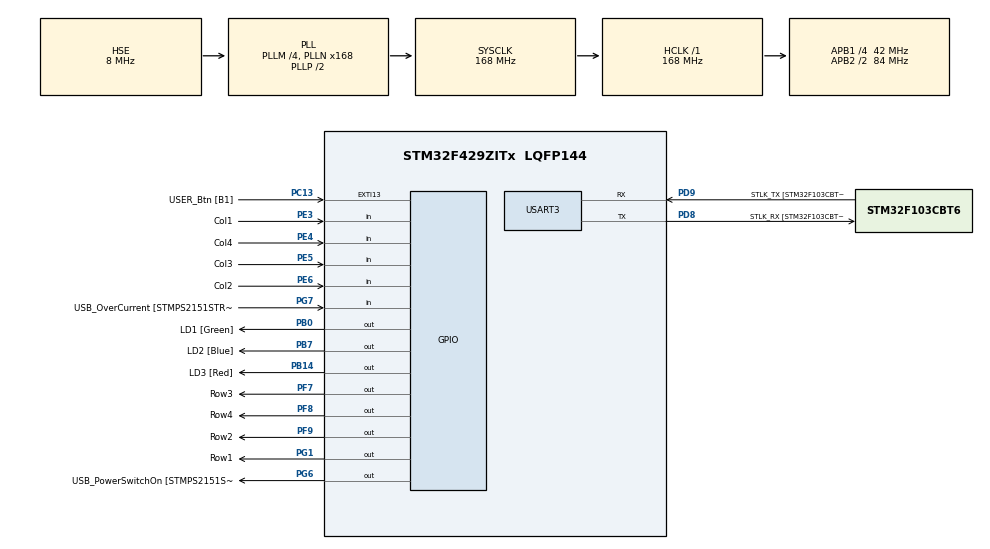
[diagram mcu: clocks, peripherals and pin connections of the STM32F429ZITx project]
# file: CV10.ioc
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Mcu.Family=STM32F4
Mcu.Name=STM32F429ZITx
Mcu.Package=LQFP144
NVIC.PriorityGroup=NVIC_PRIORITYGROUP_4
NVIC.TIM3_IRQn=true\:0\:0\:false\:false\:true\:true\:true\:true
PA1.GPIO_Label=RMII_REF_CLK [LAN8742A-CZ-TR_REFCLK0]
PA1.Signal=ETH_REF_CLK
PA10.GPIO_Label=USB_ID
PA10.Signal=USB_OTG_FS_ID
PA11.GPIO_Label=USB_DM
PA11.Signal=USB_OTG_FS_DM
PA12.GPIO_Label=USB_DP
PA12.Signal=USB_OTG_FS_DP
PA13.GPIO_Label=TMS
PA13.Mode=Serial_Wire
PA13.Signal=SYS_JTMS-SWDIO
PA14.GPIO_Label=TCK
PA14.Mode=Serial_Wire
PA14.Signal=SYS_JTCK-SWCLK
PA2.GPIO_Label=RMII_MDIO [LAN8742A-CZ-TR_MDIO]
PA2.Signal=ETH_MDIO
PA7.GPIO_Label=RMII_CRS_DV [LAN8742A-CZ-TR_CRS_DV]
PA7.Signal=ETH_CRS_DV
PA8.GPIO_Label=USB_SOF [TP1]
PA8.Signal=USB_OTG_FS_SOF
PA9.GPIO_Label=USB_VBUS
PA9.Signal=USB_OTG_FS_VBUS
PB0.GPIO_Label=LD1 [Green]
PB0.Signal=GPIO_Output
PB13.GPIO_Label=RMII_TXD1 [LAN8742A-CZ-TR_TXD1]
PB13.Signal=ETH_TXD1
PB14.GPIO_Label=LD3 [Red]
PB14.Signal=GPIO_Output
PB7.GPIO_Label=LD2 [Blue]
PB7.Signal=GPIO_Output
PC1.GPIO_Label=RMII_MDC [LAN8742A-CZ-TR_MDC]
PC1.Signal=ETH_MDC
PC13.GPIO_Label=USER_Btn [B1]
PC13.Signal=GPXTI13
PC14/OSC32_IN.Mode=LSE-External-Oscillator
PC14/OSC32_IN.Signal=RCC_OSC32_IN
PC15/OSC32_OUT.Mode=LSE-External-Oscillator
PC15/OSC32_OUT.Signal=RCC_OSC32_OUT
PC4.GPIO_Label=RMII_RXD0 [LAN8742A-CZ-TR_RXD0]
PC4.Signal=ETH_RXD0
PC5.GPIO_Label=RMII_RXD1 [LAN8742A-CZ-TR_RXD1]
PC5.Signal=ETH_RXD1
PD8.GPIO_Label=STLK_RX [STM32F103CBT6_PA3]
PD8.Mode=Asynchronous
PD8.Signal=USART3_TX
PD9.GPIO_Label=STLK_TX [STM32F103CBT6_PA2]
PD9.Mode=Asynchronous
PD9.Signal=USART3_RX
PE3.GPIO_Label=Col1
PE3.GPIO_PuPd=GPIO_PULLUP
PE3.Signal=GPIO_Input
PE4.GPIO_Label=Col4
PE4.GPIO_PuPd=GPIO_PULLUP
PE4.Signal=GPIO_Input
PE5.GPIO_Label=Col3
PE5.GPIO_PuPd=GPIO_PULLUP
PE5.Signal=GPIO_Input
PE6.GPIO_Label=Col2
PE6.GPIO_PuPd=GPIO_PULLUP
PE6.Signal=GPIO_Input
PF7.GPIO_Label=Row3
PF7.GPIO_ModeDefaultOutputPP=GPIO_MODE_OUTPUT_OD
PF7.GPIO_PuPd=GPIO_NOPULL
PF7.Signal=GPIO_Output
PF8.GPIO_Label=Row4
PF8.GPIO_ModeDefaultOutputPP=GPIO_MODE_OUTPUT_OD
PF8.GPIO_PuPd=GPIO_NOPULL
PF8.Signal=GPIO_Output
PF9.GPIO_Label=Row2
PF9.GPIO_ModeDefaultOutputPP=GPIO_MODE_OUTPUT_OD
PF9.GPIO_PuPd=GPIO_NOPULL
PF9.Signal=GPIO_Output
PG1.GPIO_Label=Row1
PG1.GPIO_ModeDefaultOutputPP=GPIO_MODE_OUTPUT_OD
PG1.GPIO_PuPd=GPIO_NOPULL
PG1.Signal=GPIO_Output
PG11.GPIO_Label=RMII_TX_EN [LAN8742A-CZ-TR_TXEN]
PG11.Signal=ETH_TX_EN
PG13.GPIO_Label=RMII_TXD0 [LAN8742A-CZ-TR_TXD0]
PG13.Signal=ETH_TXD0
PG6.GPIO_Label=USB_PowerSwitchOn [STMPS2151STR_EN]
PG6.Signal=GPIO_Output
PG7.GPIO_Label=USB_OverCurrent [STMPS2151STR_FAULT]
PG7.Signal=GPIO_Input
PH0/OSC_IN.GPIO_Label=MCO [STM32F103CBT6_PA8]
PH0/OSC_IN.Mode=HSE-External-Clock-Source
PH0/OSC_IN.Signal=RCC_OSC_IN
PH1/OSC_OUT.Mode=HSE-External-Clock-Source
PH1/OSC_OUT.Signal=RCC_OSC_OUT
ProjectManager.HeapSize=0x200
ProjectManager.StackSize=0x400
ProjectManager.TargetToolchain=STM32CubeIDE
RCC.48MHZClocksFreq_Value=48000000
RCC.AHBFreq_Value=168000000
RCC.APB1CLKDivider=RCC_HCLK_DIV4
RCC.APB1Freq_Value=42000000
RCC.APB1TimFreq_Value=84000000
RCC.APB2CLKDivider=RCC_HCLK_DIV2
RCC.APB2Freq_Value=84000000
RCC.APB2TimCLKDivider=2
RCC.APB2TimFreq_Value=168000000
RCC.CortexFreq_Value=168000000
RCC.HCLKFreq_Value=168000000
RCC.HSE_VALUE=8000000
RCC.HSI_VALUE=16000000
RCC.PLLM=4
RCC.PLLMUL=RCC_PLL_MUL9
RCC.PLLN=168
RCC.PLLQ=7
RCC.PLLSourceVirtual=RCC_PLLSOURCE_HSE
RCC.PRESCALERUSB=RCC_USBCLKSOURCE_PLL_DIV1_5
RCC.SYSCLKFreq_VALUE=168000000
RCC.SYSCLKSource=RCC_SYSCLKSOURCE_PLLCLK
RCC.SYSCLKSourceVirtual=RCC_SYSCLKSOURCE_PLLCLK
RCC.USBFreq_Value=48000000
RCC.VCOOutputFreq_Value=336000000
TIM3.AutoReloadPreload=TIM_AUTORELOAD_PRELOAD_ENABLE
TIM3.Period=99
TIM3.Prescaler=8399
USART3.VirtualMode=VM_ASYNC
VP_TIM3_VS_ClockSourceINT.Mode=Internal
board=NUCLEO-F429ZI

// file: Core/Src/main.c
/* USER CODE BEGIN Header */
/**
  ******************************************************************************
  * @file           : main.c
  * @brief          : Main program body
  ******************************************************************************
  * @attention
  *
  * Copyright (c) 2022 STMicroelectronics.
  * All rights reserved.
  *
  * This software is licensed under terms that can be found in the LICENSE file
  * in the root directory of this software component.
  * If no LICENSE file comes with this software, it is provided AS-IS.
  *
  ******************************************************************************
  */
/* USER CODE END Header */
#include "main.h"

/* USER CODE BEGIN Includes */
#include <stdio.h>
/* USER CODE END Includes */

/* USER CODE BEGIN PM */
const uint8_t code[] = {7, 9, 3, 2, 12};
//uint8_t pos = 0;
//uint16_t timer = 0;
//uint32_t timeout = HAL_GetTick();
/* USER CODE END PM */

TIM_HandleTypeDef htim3;

UART_HandleTypeDef huart3;

/* USER CODE BEGIN PV */
static volatile int8_t key = -1;
/* USER CODE END PV */

void SystemClock_Config(void);
static void MX_GPIO_Init(void);
static void MX_USART3_UART_Init(void);
static void MX_TIM3_Init(void);

/* USER CODE BEGIN 0 */
int __io_putchar(int ch) {
	ITM_SendChar(ch);
	return 0;
}

void HAL_TIM_PeriodElapsedCallback(TIM_HandleTypeDef *htim) {
	static int row = 0;
	static const int keyboard[4][4] = { { 1, 2, 3, 21 }, { 4, 5, 6, 22 }, { 7,
			8, 9, 23 }, { 11, 0, 12, 24 }, };
	if (key == -1) {
		if (HAL_GPIO_ReadPin(Col1_GPIO_Port, Col1_Pin) == GPIO_PIN_RESET)
			key = keyboard[row][0];
		if (HAL_GPIO_ReadPin(Col2_GPIO_Port, Col2_Pin) == GPIO_PIN_RESET)
			key = keyboard[row][1];
		if (HAL_GPIO_ReadPin(Col3_GPIO_Port, Col3_Pin) == GPIO_PIN_RESET)
			key = keyboard[row][2];
		if (HAL_GPIO_ReadPin(Col4_GPIO_Port, Col4_Pin) == GPIO_PIN_RESET)
			key = keyboard[row][3];

	}
	HAL_GPIO_WritePin(Row1_GPIO_Port, Row1_Pin, GPIO_PIN_SET);
	HAL_GPIO_WritePin(Row2_GPIO_Port, Row2_Pin, GPIO_PIN_SET);
	HAL_GPIO_WritePin(Row3_GPIO_Port, Row3_Pin, GPIO_PIN_SET);
	HAL_GPIO_WritePin(Row4_GPIO_Port, Row4_Pin, GPIO_PIN_SET);
	switch (row) {
	case 0:
		row = 1;
		HAL_GPIO_WritePin(Row2_GPIO_Port, Row2_Pin, GPIO_PIN_RESET);
		break;
	case 1:
		row = 2;
		HAL_GPIO_WritePin(Row3_GPIO_Port, Row3_Pin, GPIO_PIN_RESET);
		break;
	case 2:
		row = 3;
		HAL_GPIO_WritePin(Row4_GPIO_Port, Row4_Pin, GPIO_PIN_RESET);
		break;
	case 3:
		row = 0;
		HAL_GPIO_WritePin(Row1_GPIO_Port, Row1_Pin, GPIO_PIN_RESET);
		break;

	}
}
/* USER CODE END 0 */

int main(void)
{

  /* MCU Configuration--------------------------------------------------------*/

  /* Reset of all peripherals, Initializes the Flash interface and the Systick. */
  HAL_Init();

  /* Configure the system clock */
  SystemClock_Config();

  /* Initialize all configured peripherals */
  MX_GPIO_Init();
  MX_USART3_UART_Init();
  MX_TIM3_Init();
  /* USER CODE BEGIN 2 */
  HAL_TIM_Base_Start_IT(&htim3);
  printf("test\n");

  /* USER CODE END 2 */

  /* Infinite loop */
  /* USER CODE BEGIN WHILE */
	while (1) {
		/*
		 HAL_GPIO_TogglePin(LD1_GPIO_Port, LD1_Pin);
		 HAL_Delay(250);
		 */
		static int8_t correct = 0;
		static uint8_t pos = 0;
		static uint32_t timer = 0;

		//Timeout
		if (HAL_GetTick() > timer + 3000 && pos > 0) {
			pos = 0;
			correct = 0;

			timer = HAL_GetTick();
			printf("Time's out\n");
		}

		//code init
		if (key != -1) {
			timer = HAL_GetTick();

			if (key == code[pos]) {
				correct++;
			}

			if (pos < 5) {
				pos++;
			}

			else {
				pos = 0;
				printf("Reseted\n");
			}

			//code correct/wrong
			printf("Pressed: %d --> pos: %d \n", key, pos);
			HAL_Delay(200);
			key = -1;

			if (correct == 5 && pos == 5) {
				printf("Correct\n");
				HAL_GPIO_WritePin(LD1_GPIO_Port, LD1_Pin, GPIO_PIN_SET);
				HAL_Delay(3000);
				HAL_GPIO_WritePin(LD1_GPIO_Port, LD1_Pin, GPIO_PIN_RESET);
				pos = 0;
				correct = 0;

			}

			else if (correct != 5 && pos == 5) {
				printf("Wrong Password\n");

				for (uint8_t i = 0; i < 6; i++) {
					HAL_GPIO_TogglePin(LD1_GPIO_Port, LD1_Pin);
					HAL_Delay(200);
				}
				pos = 0;
				correct = 0;

			}
		}

		/*
		 if(pos == code[5]) {
		 if(key != -1) {
		 printf("pressed: %2d\n", key);

		 HAL_GPIO_TogglePin(LD1_GPIO_Port, LD1_Pin);
		 //HAL_Delay(250);

		 HAL_Delay(300);
		 key = -1;
		 }
		 }
		 else timeout;

		 */

		/* USER CODE END WHILE */

	}
}

void SystemClock_Config(void)
{
  RCC_OscInitTypeDef RCC_OscInitStruct = {0};
  RCC_ClkInitTypeDef RCC_ClkInitStruct = {0};

  /** Configure the main internal regulator output voltage
  */
  __HAL_RCC_PWR_CLK_ENABLE();
  __HAL_PWR_VOLTAGESCALING_CONFIG(PWR_REGULATOR_VOLTAGE_SCALE1);

  /** Initializes the RCC Oscillators according to the specified parameters
  * in the RCC_OscInitTypeDef structure.
  */
  RCC_OscInitStruct.OscillatorType = RCC_OSCILLATORTYPE_HSE;
  RCC_OscInitStruct.HSEState = RCC_HSE_BYPASS;
  RCC_OscInitStruct.PLL.PLLState = RCC_PLL_ON;
  RCC_OscInitStruct.PLL.PLLSource = RCC_PLLSOURCE_HSE;
  RCC_OscInitStruct.PLL.PLLM = 4;
  RCC_OscInitStruct.PLL.PLLN = 168;
  RCC_OscInitStruct.PLL.PLLP = RCC_PLLP_DIV2;
  RCC_OscInitStruct.PLL.PLLQ = 7;
  if (HAL_RCC_OscConfig(&RCC_OscInitStruct) != HAL_OK)
  {
    Error_Handler();
  }

  /** Initializes the CPU, AHB and APB buses clocks
  */
  RCC_ClkInitStruct.ClockType = RCC_CLOCKTYPE_HCLK|RCC_CLOCKTYPE_SYSCLK
                              |RCC_CLOCKTYPE_PCLK1|RCC_CLOCKTYPE_PCLK2;
  RCC_ClkInitStruct.SYSCLKSource = RCC_SYSCLKSOURCE_PLLCLK;
  RCC_ClkInitStruct.AHBCLKDivider = RCC_SYSCLK_DIV1;
  RCC_ClkInitStruct.APB1CLKDivider = RCC_HCLK_DIV4;
  RCC_ClkInitStruct.APB2CLKDivider = RCC_HCLK_DIV2;

  if (HAL_RCC_ClockConfig(&RCC_ClkInitStruct, FLASH_LATENCY_5) != HAL_OK)
  {
    Error_Handler();
  }
}

static void MX_TIM3_Init(void)
{

  TIM_ClockConfigTypeDef sClockSourceConfig = {0};
  TIM_MasterConfigTypeDef sMasterConfig = {0};

  htim3.Instance = TIM3;
  htim3.Init.Prescaler = 8399;
  htim3.Init.CounterMode = TIM_COUNTERMODE_UP;
  htim3.Init.Period = 99;
  htim3.Init.ClockDivision = TIM_CLOCKDIVISION_DIV1;
  htim3.Init.AutoReloadPreload = TIM_AUTORELOAD_PRELOAD_ENABLE;
  if (HAL_TIM_Base_Init(&htim3) != HAL_OK)
  {
    Error_Handler();
  }
  sClockSourceConfig.ClockSource = TIM_CLOCKSOURCE_INTERNAL;
  if (HAL_TIM_ConfigClockSource(&htim3, &sClockSourceConfig) != HAL_OK)
  {
    Error_Handler();
  }
  sMasterConfig.MasterOutputTrigger = TIM_TRGO_RESET;
  sMasterConfig.MasterSlaveMode = TIM_MASTERSLAVEMODE_DISABLE;
  if (HAL_TIMEx_MasterConfigSynchronization(&htim3, &sMasterConfig) != HAL_OK)
  {
    Error_Handler();
  }

}

static void MX_USART3_UART_Init(void)
{

  huart3.Instance = USART3;
  huart3.Init.BaudRate = 115200;
  huart3.Init.WordLength = UART_WORDLENGTH_8B;
  huart3.Init.StopBits = UART_STOPBITS_1;
  huart3.Init.Parity = UART_PARITY_NONE;
  huart3.Init.Mode = UART_MODE_TX_RX;
  huart3.Init.HwFlowCtl = UART_HWCONTROL_NONE;
  huart3.Init.OverSampling = UART_OVERSAMPLING_16;
  if (HAL_UART_Init(&huart3) != HAL_OK)
  {
    Error_Handler();
  }

}

static void MX_GPIO_Init(void)
{
  GPIO_InitTypeDef GPIO_InitStruct = {0};

  /* GPIO Ports Clock Enable */
  __HAL_RCC_GPIOE_CLK_ENABLE();
  __HAL_RCC_GPIOC_CLK_ENABLE();
  __HAL_RCC_GPIOF_CLK_ENABLE();
  __HAL_RCC_GPIOH_CLK_ENABLE();
  __HAL_RCC_GPIOA_CLK_ENABLE();
  __HAL_RCC_GPIOB_CLK_ENABLE();
  __HAL_RCC_GPIOG_CLK_ENABLE();
  __HAL_RCC_GPIOD_CLK_ENABLE();

  /*Configure GPIO pin Output Level */
  HAL_GPIO_WritePin(GPIOF, Row3_Pin|Row4_Pin|Row2_Pin, GPIO_PIN_RESET);

  /*Configure GPIO pin Output Level */
  HAL_GPIO_WritePin(GPIOB, LD1_Pin|LD3_Pin|LD2_Pin, GPIO_PIN_RESET);

  /*Configure GPIO pin Output Level */
  HAL_GPIO_WritePin(GPIOG, Row1_Pin|USB_PowerSwitchOn_Pin, GPIO_PIN_RESET);

  /*Configure GPIO pins : Col1_Pin Col4_Pin Col3_Pin Col2_Pin */
  GPIO_InitStruct.Pin = Col1_Pin|Col4_Pin|Col3_Pin|Col2_Pin;
  GPIO_InitStruct.Mode = GPIO_MODE_INPUT;
  GPIO_InitStruct.Pull = GPIO_PULLUP;
  HAL_GPIO_Init(GPIOE, &GPIO_InitStruct);

  /*Configure GPIO pin : USER_Btn_Pin */
  GPIO_InitStruct.Pin = USER_Btn_Pin;
  GPIO_InitStruct.Mode = GPIO_MODE_IT_RISING;
  GPIO_InitStruct.Pull = GPIO_NOPULL;
  HAL_GPIO_Init(USER_Btn_GPIO_Port, &GPIO_InitStruct);

  /*Configure GPIO pins : Row3_Pin Row4_Pin Row2_Pin */
  GPIO_InitStruct.Pin = Row3_Pin|Row4_Pin|Row2_Pin;
  GPIO_InitStruct.Mode = GPIO_MODE_OUTPUT_OD;
  GPIO_InitStruct.Pull = GPIO_NOPULL;
  GPIO_InitStruct.Speed = GPIO_SPEED_FREQ_LOW;
  HAL_GPIO_Init(GPIOF, &GPIO_InitStruct);

  /*Configure GPIO pins : RMII_MDC_Pin RMII_RXD0_Pin RMII_RXD1_Pin */
  GPIO_InitStruct.Pin = RMII_MDC_Pin|RMII_RXD0_Pin|RMII_RXD1_Pin;
  GPIO_InitStruct.Mode = GPIO_MODE_AF_PP;
  GPIO_InitStruct.Pull = GPIO_NOPULL;
  GPIO_InitStruct.Speed = GPIO_SPEED_FREQ_VERY_HIGH;
  GPIO_InitStruct.Alternate = GPIO_AF11_ETH;
  HAL_GPIO_Init(GPIOC, &GPIO_InitStruct);

  /*Configure GPIO pins : RMII_REF_CLK_Pin RMII_MDIO_Pin RMII_CRS_DV_Pin */
  GPIO_InitStruct.Pin = RMII_REF_CLK_Pin|RMII_MDIO_Pin|RMII_CRS_DV_Pin;
  GPIO_InitStruct.Mode = GPIO_MODE_AF_PP;
  GPIO_InitStruct.Pull = GPIO_NOPULL;
  GPIO_InitStruct.Speed = GPIO_SPEED_FREQ_VERY_HIGH;
  GPIO_InitStruct.Alternate = GPIO_AF11_ETH;
  HAL_GPIO_Init(GPIOA, &GPIO_InitStruct);

  /*Configure GPIO pins : LD1_Pin LD3_Pin LD2_Pin */
  GPIO_InitStruct.Pin = LD1_Pin|LD3_Pin|LD2_Pin;
  GPIO_InitStruct.Mode = GPIO_MODE_OUTPUT_PP;
  GPIO_InitStruct.Pull = GPIO_NOPULL;
  GPIO_InitStruct.Speed = GPIO_SPEED_FREQ_LOW;
  HAL_GPIO_Init(GPIOB, &GPIO_InitStruct);

  /*Configure GPIO pin : Row1_Pin */
  GPIO_InitStruct.Pin = Row1_Pin;
  GPIO_InitStruct.Mode = GPIO_MODE_OUTPUT_OD;
  GPIO_InitStruct.Pull = GPIO_NOPULL;
  GPIO_InitStruct.Speed = GPIO_SPEED_FREQ_LOW;
  HAL_GPIO_Init(Row1_GPIO_Port, &GPIO_InitStruct);

  /*Configure GPIO pin : RMII_TXD1_Pin */
  GPIO_InitStruct.Pin = RMII_TXD1_Pin;
  GPIO_InitStruct.Mode = GPIO_MODE_AF_PP;
  GPIO_InitStruct.Pull = GPIO_NOPULL;
  GPIO_InitStruct.Speed = GPIO_SPEED_FREQ_VERY_HIGH;
  GPIO_InitStruct.Alternate = GPIO_AF11_ETH;
  HAL_GPIO_Init(RMII_TXD1_GPIO_Port, &GPIO_InitStruct);

  /*Configure GPIO pin : USB_PowerSwitchOn_Pin */
  GPIO_InitStruct.Pin = USB_PowerSwitchOn_Pin;
  GPIO_InitStruct.Mode = GPIO_MODE_OUTPUT_PP;
  GPIO_InitStruct.Pull = GPIO_NOPULL;
  GPIO_InitStruct.Speed = GPIO_SPEED_FREQ_LOW;
  HAL_GPIO_Init(USB_PowerSwitchOn_GPIO_Port, &GPIO_InitStruct);

  /*Configure GPIO pin : USB_OverCurrent_Pin */
  GPIO_InitStruct.Pin = USB_OverCurrent_Pin;
  GPIO_InitStruct.Mode = GPIO_MODE_INPUT;
  GPIO_InitStruct.Pull = GPIO_NOPULL;
  HAL_GPIO_Init(USB_OverCurrent_GPIO_Port, &GPIO_InitStruct);

  /*Configure GPIO pins : USB_SOF_Pin USB_ID_Pin USB_DM_Pin USB_DP_Pin */
  GPIO_InitStruct.Pin = USB_SOF_Pin|USB_ID_Pin|USB_DM_Pin|USB_DP_Pin;
  GPIO_InitStruct.Mode = GPIO_MODE_AF_PP;
  GPIO_InitStruct.Pull = GPIO_NOPULL;
  GPIO_InitStruct.Speed = GPIO_SPEED_FREQ_VERY_HIGH;
  GPIO_InitStruct.Alternate = GPIO_AF10_OTG_FS;
  HAL_GPIO_Init(GPIOA, &GPIO_InitStruct);

  /*Configure GPIO pin : USB_VBUS_Pin */
  GPIO_InitStruct.Pin = USB_VBUS_Pin;
  GPIO_InitStruct.Mode = GPIO_MODE_INPUT;
  GPIO_InitStruct.Pull = GPIO_NOPULL;
  HAL_GPIO_Init(USB_VBUS_GPIO_Port, &GPIO_InitStruct);

  /*Configure GPIO pins : RMII_TX_EN_Pin RMII_TXD0_Pin */
  GPIO_InitStruct.Pin = RMII_TX_EN_Pin|RMII_TXD0_Pin;
  GPIO_InitStruct.Mode = GPIO_MODE_AF_PP;
  GPIO_InitStruct.Pull = GPIO_NOPULL;
  GPIO_InitStruct.Speed = GPIO_SPEED_FREQ_VERY_HIGH;
  GPIO_InitStruct.Alternate = GPIO_AF11_ETH;
  HAL_GPIO_Init(GPIOG, &GPIO_InitStruct);

}

void Error_Handler(void)
{
  __disable_irq();
  while (1)
  {
  }
}
